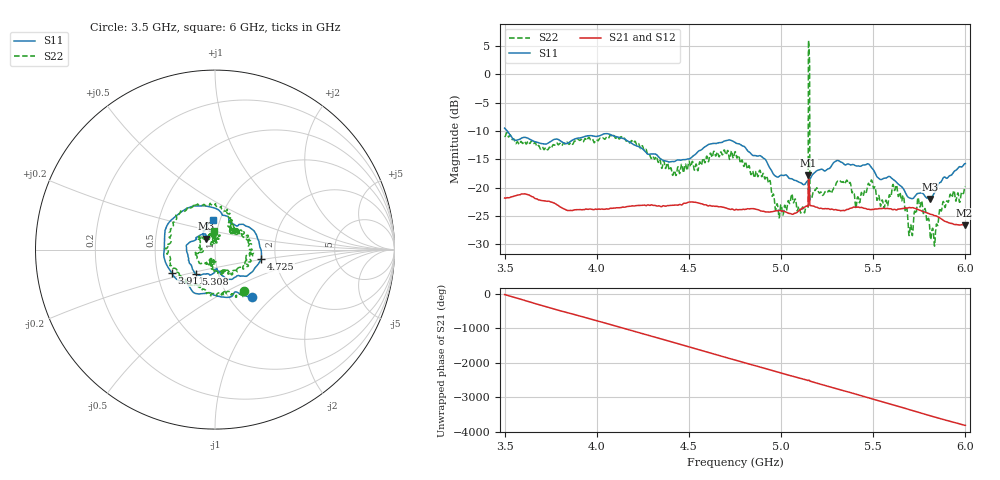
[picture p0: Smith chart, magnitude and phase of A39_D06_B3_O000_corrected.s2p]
! Created with skrf 1.9.0 (http://scikit-rf.org).
# Hz S RI R 50.0
!freq ReS11 ImS11 ReS21 ImS21 ReS12 ImS12 ReS22 ImS22
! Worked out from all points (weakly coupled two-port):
!   1601 points, 3.5 GHz to 6 GHz, reference 50 ohm
!   highest |S21| = -17.78 dB at 5.148 GHz (marker M1); lowest = -26.6 dB at 5.995 GHz (marker M2)
!   lowest |S11| = -22.0 dB at 5.808 GHz (marker M3), VSWR 1.17, Z = 44.8 + j5.48 ohm
!   |S11| at or under -10 dB: 3.514 GHz to end of sweep
!   |S22| runs from -30.4 to 6.0 dB; largest |S21 - S12| = 0.0009
!   S11 on the Smith chart (normalised r, x): 3.5 GHz: 1.27, -0.75; 3.911 GHz: 0.59, -0.17; 4.725 GHz: 1.68, -0.19; 5.308 GHz: 0.78, -0.22; 6 GHz: 0.93, +0.31
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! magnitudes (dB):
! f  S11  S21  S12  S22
! 3.5 GHz  -9.5  -21.9  -21.8  -10.9
! 3.911 GHz  -11.2  -23.9  -23.9  -11.6
! 3.917 GHz  -11.2  -23.9  -23.9  -11.5
! 4.334 GHz  -14.5  -23.3  -23.2  -15.6
! 4.422 GHz  -15.4  -23.1  -23.1  -17.1
! 4.725 GHz  -11.6  -23.9  -23.8  -14.5
! 4.75 GHz  -12.0  -24.0  -23.9  -13.7
! 4.93 GHz  -16.0  -24.3  -24.3  -19.0
! 5 GHz  -17.8  -24.1  -24.1  -23.0
! 5.134 GHz  -19.2  -23.3  -23.3  -23.5
! 5.142 GHz  -18.9  -23.3  -23.2  -23.2
! 5.148 GHz  -18.7  -17.8  -17.8  6.0
! 5.161 GHz  -18.3  -23.2  -23.1  -22.0
! 5.167 GHz  -17.9  -23.3  -23.2  -21.8
! 5.308 GHz  -15.2  -24.0  -23.9  -18.9
! 5.584 GHz  -18.1  -23.7  -23.7  -21.8
! 5.634 GHz  -19.4  -23.8  -23.8  -21.4
! 5.703 GHz  -21.9  -23.6  -23.5  -26.6
! 5.753 GHz  -21.0  -24.0  -23.9  -23.4
! 5.808 GHz  -22.0  -24.7  -24.6  -27.9
! 5.995 GHz  -15.8  -26.6  -26.5  -20.1
! 6 GHz  -15.8  -26.6  -26.6  -19.8
